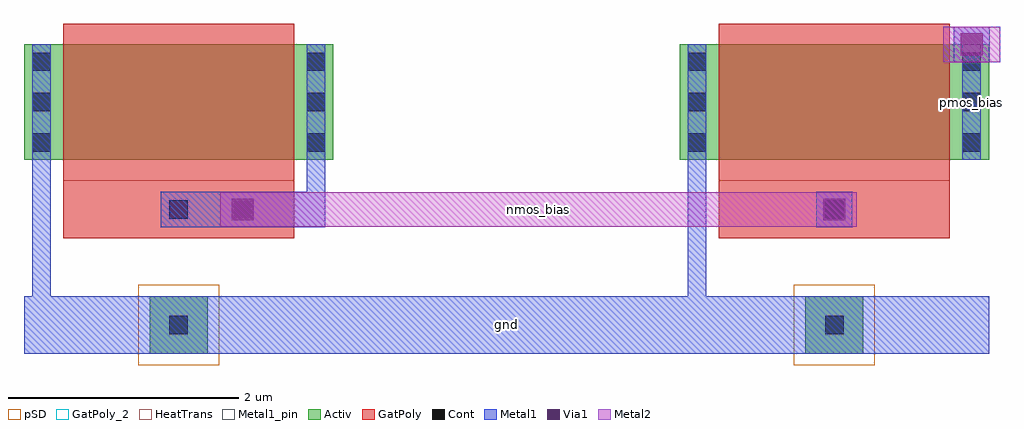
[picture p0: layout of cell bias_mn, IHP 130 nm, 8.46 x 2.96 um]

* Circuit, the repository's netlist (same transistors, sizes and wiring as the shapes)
* BIAS MN module — LVS schematic
* From sim/_soilz_full.sp (ground truth)
* MN_diode: diode-connected NMOS (G=D=nmos_bias, S=gnd)
* MN_pgen:  NMOS current mirror (G=nmos_bias, S=gnd, D=pmos_bias)

.subckt bias_mn gnd nmos_bias pmos_bias
MMN_diode nmos_bias nmos_bias gnd gnd sg13_lv_nmos w=1u l=2u ng=1 m=1
MMN_pgen pmos_bias nmos_bias gnd gnd sg13_lv_nmos w=1u l=2u ng=1 m=1
.ends bias_mn

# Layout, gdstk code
import gdstk
lib = gdstk.Library(unit=1e-6, precision=1e-09)
def R(c, l, rs):  # rectangles x0, y0, x1, y1
    for r in rs: c.add(gdstk.rectangle(r[:2], r[2:], *l))
def A(c, l, x, y, w, h, nx, ny, dx, dy):  # array of equal rectangles
    R(c, l, [(x+i*dx, y+j*dy, x+i*dx+w, y+j*dy+h) for i in range(nx) for j in range(ny)])
Activ = (1, 0)
GatPoly = (5, 0)
GatPoly_2 = (5, 2)
Cont = (6, 0)
Metal1 = (8, 0)
Metal1_pin = (8, 2)
Metal2 = (10, 0)
pSD = (14, 0)
Via1 = (19, 0)
HeatTrans = (51, 0)

nmos = lib.new_cell('nmos')
R(nmos, Activ, [(0,0,0.3,0.3), (0,0,2.68,1), (2.38,0,2.68,0.3)])
R(nmos, GatPoly, [(0.34,-0.18,2.34,1.18)])
R(nmos, GatPoly_2, [(0.34,-0.18,2.34,1.18)])
A(nmos, Cont, 0.07, 0.07, 0.16, 0.16, 1, 3, 0, 0.35)
A(nmos, Cont, 2.45, 0.07, 0.16, 0.16, 1, 3, 0, 0.35)
R(nmos, Metal1, [(0.07,0,0.23,1), (2.45,0,2.61,1)])
R(nmos, Metal1_pin, [(0.07,0,0.23,1), (2.45,0,2.61,1)])
R(nmos, HeatTrans, [(0.34,-0.18,2.34,1.18)])
nmos.add(gdstk.Label('nmos', (1.34,0.5), layer=63, texttype=0))
nmos.add(gdstk.Label('nmos', (1.34,0.5), layer=51, texttype=0))

bias_mn = lib.new_cell('bias_mn')
R(bias_mn, Activ, [(1.09,-1.5,1.59,-1), (6.77,-1.5,7.27,-1)])
R(bias_mn, GatPoly, [(0.34,-0.5,2.34,0), (6.02,-0.5,8.02,0)])
R(bias_mn, Cont, [(1.26,-1.33,1.42,-1.17), (6.94,-1.33,7.1,-1.17), (1.26,-0.33,1.42,-0.17), (6.94,-0.33,7.1,-0.17)])
R(bias_mn, Metal1, [(0,-1.5,8.36,-1), (1.09,-1.5,1.59,-1), (6.77,-1.5,7.27,-1), (0.07,-1,0.23,0.18), (5.75,-1,5.91,0.18), (1.185,-0.405,1.495,-0.095), (1.185,-0.405,2.61,-0.095), (6.865,-0.405,7.175,-0.095), (2.45,-0.095,2.61,0.18), (8.055,1.025,8.365,1.335)])
R(bias_mn, Metal2, [(1.7,-0.4,7.215,-0.1), (7.965,1.025,8.455,1.335)])
R(bias_mn, pSD, [(0.99,-1.6,1.69,-0.9), (6.67,-1.6,7.37,-0.9)])
R(bias_mn, Via1, [(1.8,-0.345,1.99,-0.155), (6.925,-0.345,7.115,-0.155), (8.115,1.085,8.305,1.275)])
bias_mn.add(gdstk.Reference(nmos, (0,0.18)))
bias_mn.add(gdstk.Reference(nmos, (5.68,0.18)))
bias_mn.add(gdstk.Label('gnd', (4.18,-1.25), layer=8, texttype=0))
bias_mn.add(gdstk.Label('pmos_bias', (8.21,0.68), layer=8, texttype=0))
bias_mn.add(gdstk.Label('nmos_bias', (4.457,-0.25), layer=10, texttype=0))

lib.write_gds('bias_mn.gds')
